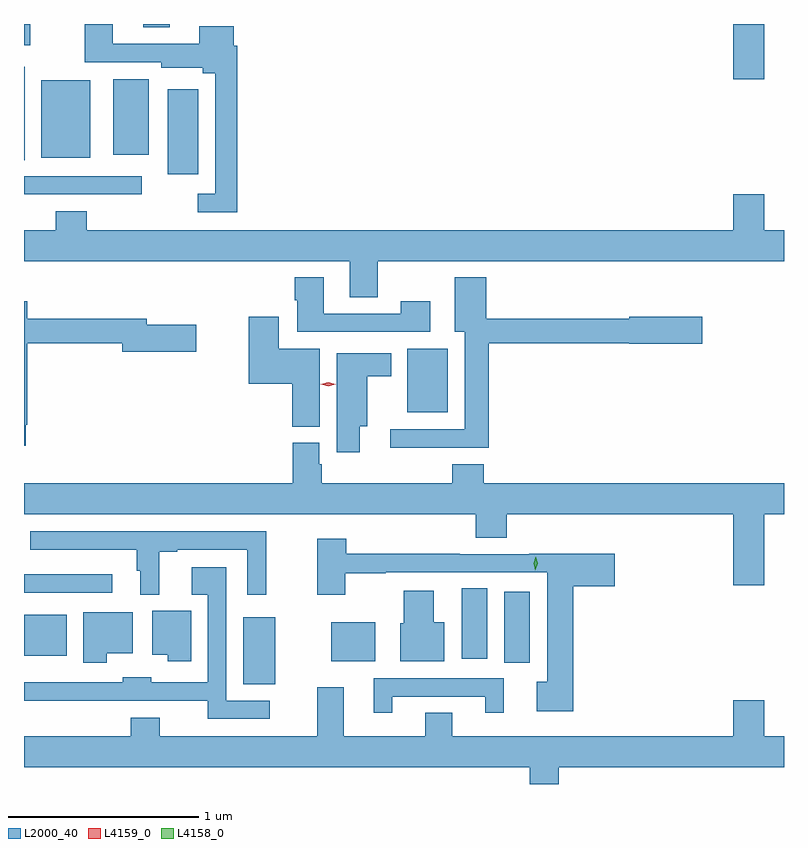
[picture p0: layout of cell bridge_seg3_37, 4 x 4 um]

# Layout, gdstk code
import gdstk
lib = gdstk.Library(unit=1e-6, precision=1e-09)
def R(c, l, rs):  # rectangles x0, y0, x1, y1
    for r in rs: c.add(gdstk.rectangle(r[:2], r[2:], *l))
def P(c, l, *ps):  # polygons
    for p in ps: c.add(gdstk.Polygon(p, *l))
L2000_40 = (2000, 40)
L4158_0 = (4158, 0)
L4159_0 = (4159, 0)

bridge_seg3_37 = lib.new_cell('bridge_seg3_37')
R(bridge_seg3_37, L2000_40, [(677.912,702.685,678.082,703.039), (679.286,702.798,679.42,703.174), (678.377,702.806,678.607,703.012), (679.064,702.819,679.198,703.19), (676.759,702.836,676.984,703.051), (676.759,703.167,677.224,703.264), (678.776,704.117,678.988,704.452), (676.759,705.264,677.38,705.36), (677.516,705.369,677.677,705.817), (676.759,705.445,676.762,705.937), (676.85,705.458,677.107,705.865), (677.228,705.473,677.416,705.871), (680.492,705.87,680.656,706.161), (676.759,706.05,676.791,706.161), (677.387,706.145,677.527,706.161)])
P(bridge_seg3_37, L2000_40, [(677.882,706.046),(677.863,706.046),(677.863,706.15),(677.681,706.15),(677.681,706.056),(677.227,706.056),(677.227,706.159),(677.08,706.159),(677.08,705.96),(677.481,705.96),(677.481,705.932),(677.7,705.932),(677.7,705.902),(677.766,705.902),(677.766,705.267),(677.673,705.267),(677.673,705.171),(677.882,705.171)],
  [(678.621,704.912),(680.759,704.912),(680.759,705.076),(680.656,705.076),(680.656,705.265),(680.492,705.265),(680.492,705.076),(677.09,705.076),(677.09,705.175),(676.925,705.175),(676.925,705.076),(676.759,705.076),(676.759,704.912),(678.473,704.912),(678.473,704.722),(678.621,704.722)],
  [(678.898,704.701),(678.742,704.701),(678.742,704.637),(678.337,704.637),(678.337,704.827),(678.185,704.827),(678.185,704.707),(678.197,704.707),(678.197,704.541),(678.898,704.541)],
  [(679.205,704.482),(679.944,704.482),(679.944,704.477),(680.329,704.477),(680.329,704.619),(679.944,704.619),(679.944,704.611),(679.192,704.611),(679.192,704.827),(679.025,704.827),(679.025,704.54),(679.079,704.54),(679.079,704.028),(678.687,704.028),(678.687,703.931),(679.205,703.931)],
  [(676.768,704.053),(676.775,704.053),(676.775,704.482),(677.276,704.482),(677.276,704.435),(677.665,704.435),(677.665,704.577),(677.404,704.577),(677.404,704.611),(676.775,704.611),(676.775,704.703),(676.759,704.703),(676.759,703.941),(676.768,703.941)],
  [(678.316,704.452),(678.1,704.452),(678.1,704.62),(677.942,704.62),(677.942,704.267),(678.17,704.267),(678.17,704.041),(678.316,704.041)],
  [(678.526,704.045),(678.565,704.045),(678.565,704.306),(678.691,704.306),(678.691,704.428),(678.404,704.428),(678.404,703.908),(678.526,703.908)],
  [(680.656,703.58),(680.759,703.58),(680.759,703.744),(679.178,703.744),(679.178,703.843),(679.013,703.843),(679.013,703.744),(678.326,703.744),(678.326,703.845),(678.313,703.845),(678.313,703.956),(678.173,703.956),(678.173,703.744),(676.759,703.744),(676.759,703.58),(679.136,703.58),(679.136,703.456),(679.301,703.456),(679.301,703.58),(680.492,703.58),(680.492,703.206),(680.656,703.206)],
  [(677.47,703.383),(677.566,703.383),(677.566,703.395),(677.934,703.395),(677.934,703.158),(678.035,703.158),(678.035,703.491),(676.791,703.491),(676.791,703.394),(677.353,703.394),(677.353,703.284),(677.372,703.284),(677.372,703.158),(677.47,703.158)],
  [(679.649,703.202),(679.867,703.202),(679.867,703.373),(679.418,703.373),(679.418,703.371),(679.052,703.371),(679.052,703.373),(678.455,703.373),(678.455,703.453),(678.302,703.453),(678.302,703.158),(678.45,703.158),(678.45,703.27),(678.662,703.27),(678.662,703.275),(679.514,703.275),(679.514,702.698),(679.458,702.698),(679.458,702.545),(679.649,702.545)],
  [(678.052,702.6),(677.823,702.6),(677.823,703.303),(677.643,703.303),(677.643,703.157),(677.727,703.157),(677.727,702.696),(677.43,702.696),(677.43,702.724),(677.28,702.724),(677.28,702.696),(676.976,702.696),(676.976,702.697),(676.759,702.697),(676.759,702.599),(677.725,702.599),(677.725,702.504),(678.052,702.504)],
  [(678.97,703.012),(678.916,703.012),(678.916,703.177),(678.758,703.177),(678.758,703.008),(678.74,703.008),(678.74,702.806),(678.97,702.806)],
  [(677.638,703.072),(677.435,703.072),(677.435,702.842),(677.516,702.842),(677.516,702.806),(677.638,702.806)],
  [(677.194,702.848),(677.332,702.848),(677.332,703.066),(677.072,703.066),(677.072,702.798),(677.194,702.798)],
  [(678.697,702.621),(679.187,702.621),(679.187,702.537),(679.285,702.537),(679.285,702.717),(678.599,702.717),(678.599,702.537),(678.697,702.537)],
  [(679.573,702.248),(680.759,702.248),(680.759,702.412),(680.656,702.412),(680.656,702.601),(680.492,702.601),(680.492,702.412),(679.012,702.412),(679.012,702.536),(678.872,702.536),(678.872,702.412),(678.442,702.412),(678.442,702.67),(678.302,702.67),(678.302,702.412),(677.473,702.412),(677.473,702.511),(677.321,702.511),(677.321,702.412),(676.759,702.412),(676.759,702.248),(679.421,702.248),(679.421,702.161),(679.573,702.161)])
P(bridge_seg3_37, L4158_0, [(679.451,703.286),(679.451,703.286),(679.442,703.322),(679.452,703.358),(679.452,703.358),(679.453,703.358),(679.462,703.322),(679.451,703.286)])
P(bridge_seg3_37, L4159_0, [(678.361,704.255),(678.322,704.264),(678.321,704.264),(678.322,704.265),(678.361,704.275),(678.4,704.265),(678.4,704.265),(678.4,704.265)])

lib.write_gds('bridge_seg3_37.gds')
